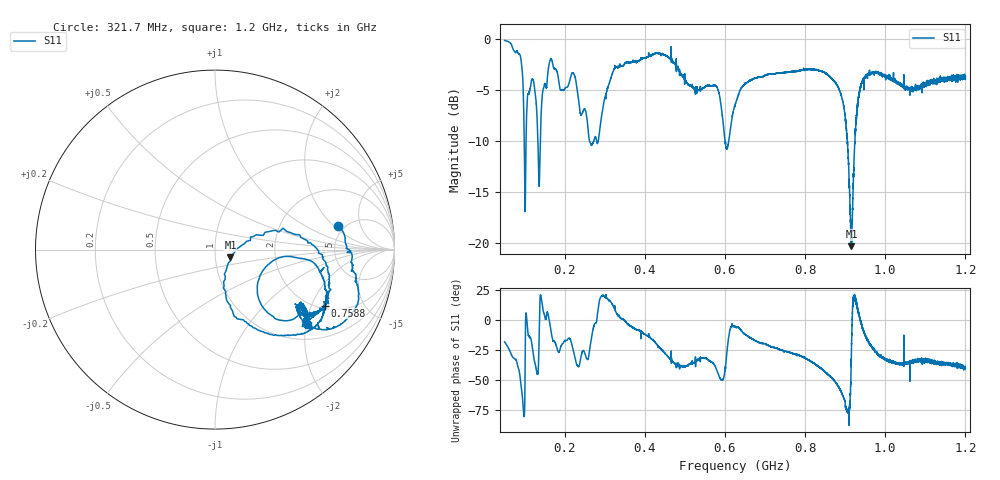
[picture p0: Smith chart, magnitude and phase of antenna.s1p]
! Calibrated high-resolution NanoVNA antenna measurement
# Hz S RI R 50
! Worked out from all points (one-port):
!   40001 points, 50 MHz to 1.2 GHz, reference 50 ohm
!   lowest |S11| = -20.3 dB at 915.4 MHz (marker M1), VSWR 1.21, Z = 59.2 - j5.22 ohm
!   |S11| at or under -10 dB: 261.9 MHz to 272.7 MHz (10.85 MHz wide, 4.06 % of centre); 600.2 MHz to 609.5 MHz (9.302 MHz wide, 1.54 % of centre); 905.4 MHz to 924.2 MHz (18.8 MHz wide, 2.06 % of centre)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
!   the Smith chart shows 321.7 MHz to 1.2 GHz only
!   S11 on the Smith chart (normalised r, x): 321.7 MHz: 4.36, +2.26; 758.8 MHz: 2.13, -2.51; 1.2 GHz: 1.29, -1.94
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5e7  0.9289 -0.3092
9.045125e7  0.4895 -0.6346
9.827125e7  0.0699 -0.3893
1.051138e8  0.436 0.00747
1.129912e8  0.5455 -0.1423
1.276538e8  0.3995 -0.3239
1.35445e8  0.1806 -0.0901
1.430638e8  0.4835 0.1265
1.644825e8  0.7866 -0.0908
1.9375e8  0.5265 -0.1929
2.294575e8  0.4753 -0.3563
2.650212e8  0.2883 -0.1013
3.216588e8  0.6831 0.1335
3.375e8  0.7318 0.026
4.275162e8  0.7987 -0.2838
4.8125e8  0.5669 -0.4435
5.785975e8  0.4406 -0.3847
5.992975e8  0.2344 -0.2267
6.25e8  0.4698 -0.0467
7.587738e8  0.6106 -0.312
7.6875e8  0.6095 -0.3252
8.838075e8  0.3206 -0.4748
9.00885e8  0.1171 -0.3806
9.125e8  0.06 -0.1247
9.154325e8  0.0862 -0.0437
9.441825e8  0.6219 -0.0862
1.05625e9  0.4622 -0.336
1.2e9  0.4914 -0.4303
